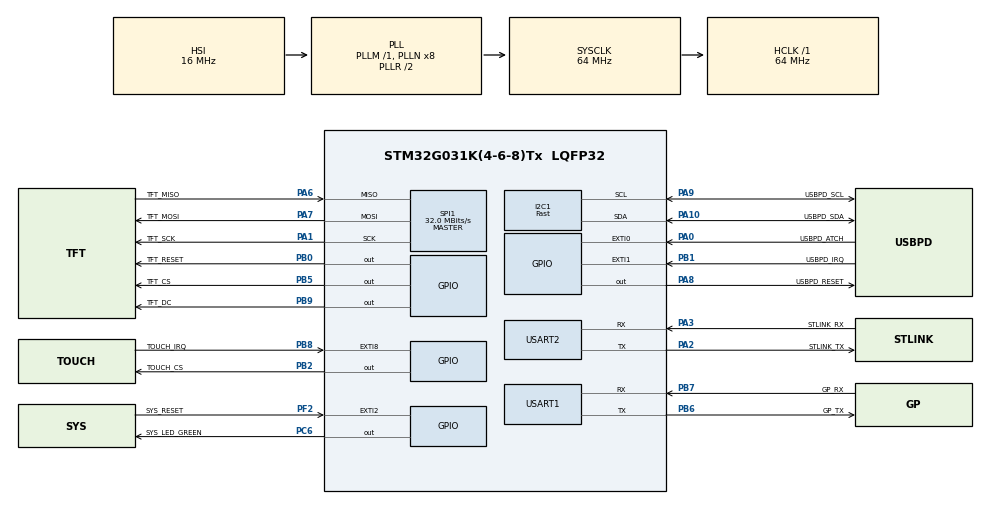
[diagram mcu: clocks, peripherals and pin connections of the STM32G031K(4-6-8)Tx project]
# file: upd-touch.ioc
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I2C1.I2C_Fall_Time=300
I2C1.I2C_Rise_Time=300
I2C1.I2C_Speed_Mode=I2C_Fast
I2C1.Timing=0x10C71026
Mcu.Family=STM32G0
Mcu.Name=STM32G031K(4-6-8)Tx
Mcu.Package=LQFP32
NVIC.EXTI0_1_IRQn=true\:1\:0\:true\:true\:true\:2\:true\:true
NVIC.EXTI2_3_IRQn=true\:0\:0\:false\:true\:true\:1\:true\:true
NVIC.EXTI4_15_IRQn=true\:1\:0\:true\:true\:true\:3\:true\:true
NVIC.I2C1_IRQn=true\:0\:0\:false\:false\:true\:true\:true
NVIC.SPI1_IRQn=true\:0\:0\:false\:false\:true\:true\:true
PA0.GPIO_Label=USBPD_ATCH
PA0.GPIO_ModeDefaultEXTI=GPIO_MODE_IT_FALLING
PA0.GPIO_PuPd=GPIO_NOPULL
PA0.Signal=GPXTI0
PA1.GPIO_Label=TFT_SCK
PA1.GPIO_Speed=GPIO_SPEED_FREQ_HIGH
PA1.Mode=Full_Duplex_Master
PA1.Signal=SPI1_SCK
PA10.GPIO_FMPA10=SYSCFG_FASTMODEPLUS_PA10
PA10.GPIO_Label=USBPD_SDA
PA10.GPIO_Speed=GPIO_SPEED_FREQ_HIGH
PA10.Mode=I2C
PA10.Signal=I2C1_SDA
PA13.GPIO_Label=SYS_SWDIO
PA13.Mode=Serial_Wire
PA13.Signal=SYS_SWDIO
PA14-BOOT0.GPIO_Label=SYS_SWCLK
PA14-BOOT0.Mode=Serial_Wire
PA14-BOOT0.Signal=SYS_SWCLK
PA2.GPIO_Label=STLINK_TX
PA2.Mode=Asynchronous
PA2.Signal=USART2_TX
PA3.GPIO_Label=STLINK_RX
PA3.Mode=Asynchronous
PA3.Signal=USART2_RX
PA6.GPIO_Label=TFT_MISO
PA6.GPIO_Speed=GPIO_SPEED_FREQ_LOW
PA6.Mode=Full_Duplex_Master
PA6.Signal=SPI1_MISO
PA7.GPIO_Label=TFT_MOSI
PA7.GPIO_Speed=GPIO_SPEED_FREQ_HIGH
PA7.Mode=Full_Duplex_Master
PA7.Signal=SPI1_MOSI
PA8.GPIO_Label=USBPD_RESET
PA8.Signal=GPIO_Output
PA9.GPIO_FMPA9=SYSCFG_FASTMODEPLUS_PA9
PA9.GPIO_Label=USBPD_SCL
PA9.GPIO_Speed=GPIO_SPEED_FREQ_HIGH
PA9.Mode=I2C
PA9.Signal=I2C1_SCL
PB0.GPIO_Label=TFT_RESET
PB0.GPIO_Speed=GPIO_SPEED_FREQ_LOW
PB0.Signal=GPIO_Output
PB1.GPIO_Label=USBPD_IRQ
PB1.GPIO_ModeDefaultEXTI=GPIO_MODE_IT_FALLING
PB1.GPIO_PuPd=GPIO_NOPULL
PB1.Signal=GPXTI1
PB2.GPIO_Label=TOUCH_CS
PB2.GPIO_PuPd=GPIO_PULLDOWN
PB2.GPIO_Speed=GPIO_SPEED_FREQ_VERY_HIGH
PB2.PinState=GPIO_PIN_SET
PB2.Signal=GPIO_Output
PB5.GPIO_Label=TFT_CS
PB5.GPIO_PuPd=GPIO_PULLDOWN
PB5.GPIO_Speed=GPIO_SPEED_FREQ_VERY_HIGH
PB5.PinState=GPIO_PIN_SET
PB5.Signal=GPIO_Output
PB6.GPIO_Label=GP_TX
PB6.Mode=Asynchronous
PB6.Signal=USART1_TX
PB7.GPIO_Label=GP_RX
PB7.Mode=Asynchronous
PB7.Signal=USART1_RX
PB8.GPIO_Label=TOUCH_IRQ
PB8.GPIO_ModeDefaultEXTI=GPIO_MODE_IT_RISING_FALLING
PB8.Signal=GPXTI8
PB9.GPIO_FM9=SYSCFG_FASTMODEPLUS_PB9
PB9.GPIO_Label=TFT_DC
PB9.GPIO_Speed=GPIO_SPEED_FREQ_HIGH
PB9.Signal=GPIO_Output
PC14-OSC32_IN\ (PC14).Mode=LSE-External-Oscillator
PC14-OSC32_IN\ (PC14).Signal=RCC_OSC32_IN
PC15-OSC32_OUT\ (PC15).Mode=LSE-External-Oscillator
PC15-OSC32_OUT\ (PC15).Signal=RCC_OSC32_OUT
PC6.GPIO_Label=SYS_LED_GREEN
PC6.Signal=GPIO_Output
PF2\ -\ NRST.GPIO_Label=SYS_RESET
PF2\ -\ NRST.Signal=GPXTI2
ProjectManager.HeapSize=0x200
ProjectManager.StackSize=0x400
ProjectManager.TargetToolchain=STM32CubeIDE
RCC.ADCFreq_Value=64000000
RCC.AHBFreq_Value=64000000
RCC.CortexFreq_Value=64000000
RCC.EXTERNAL_CLOCK_VALUE=12288000
RCC.HCLKFreq_Value=64000000
RCC.HSE_VALUE=8000000
RCC.HSI_VALUE=16000000
RCC.SYSCLKFreq_VALUE=64000000
RCC.SYSCLKSource=RCC_SYSCLKSOURCE_PLLCLK
RCC.VCOOutputFreq_Value=128000000
SPI1.BaudRatePrescaler=SPI_BAUDRATEPRESCALER_2
SPI1.CalculateBaudRate=32.0 MBits/s
SPI1.DataSize=SPI_DATASIZE_8BIT
SPI1.Direction=SPI_DIRECTION_2LINES
SPI1.Mode=SPI_MODE_MASTER
SPI1.VirtualType=VM_MASTER
USART1.VirtualMode-Asynchronous=VM_ASYNC
USART2.VirtualMode-Asynchronous=VM_ASYNC
board=NUCLEO-G031K8

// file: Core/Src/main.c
/* USER CODE BEGIN Header */
/**
  ******************************************************************************
  * @file           : main.c
  * @brief          : Main program body
  ******************************************************************************
  * @attention
  *
  * <h2><center>&copy; Copyright (c) 2019 STMicroelectronics.
  * All rights reserved.</center></h2>
  *
  * This software component is licensed by ST under BSD 3-Clause license,
  * the "License"; You may not use this file except in compliance with the
  * License. You may obtain a copy of the License at:
  *                        opensource.org/licenses/BSD-3-Clause
  *
  ******************************************************************************
  */
/* USER CODE END Header */

#include "main.h"
#include "i2c.h"
#include "spi.h"
#include "usart.h"
#include "gpio.h"

/* USER CODE BEGIN Includes */
#include "stusb4500_api.h"
#include "ili9341_api.h"

#include <stdio.h> // snprintf
/* USER CODE END Includes */

/* USER CODE BEGIN PV */
stusb4500_device_t *usbpd;
ili9341_device_t *screen;

/* USER CODE END PV */

void SystemClock_Config(void);
static void MX_NVIC_Init(void);

/* USER CODE BEGIN 0 */

void draw_pdo_src_all(ili9341_device_t *scr, stusb4500_device_t *usb)
{
#define Y_START 20

  if ((NULL != scr) && (NULL != usb)) {

    char pdo_str[32];
    float volts;
    float amps;
    uint16_t watts;

    for (uint8_t i = 0; i < usb->usbpd_status.pdo_src_count; ++i) {

      volts = (float)(usb->usbpd_status.pdo_src[i].fix.Voltage) / 20.0F;
      amps  = (float)(usb->usbpd_status.pdo_src[i].fix.Max_Operating_Current) / 100.0F;
      watts = (uint16_t)(volts * amps);

      snprintf(pdo_str, 32, "(%u) %4.1fV %4.1fV %2uW", i + 1, volts, amps, watts);

      ili9341_draw_string(scr, 2, Y_START + 20 * i, &ili9341_font_11x18, ILI9341_WHITE, ILI9341_BLACK, iwwTruncate, pdo_str);
    }
  }

#undef Y_START
}

void draw_pdo_snk_all(ili9341_device_t *scr, stusb4500_device_t *usb)
{
#define Y_START (scr->screen_size.height / 2U)

  if ((NULL != scr) && (NULL != usb)) {

    char pdo_str[32];
    float volts;
    float volts_lo, volts_hi; // variable supply
    float amps;
    uint16_t watts;

    for (uint8_t i = 0; i < usb->usbpd_status.pdo_snk_count; ++i) {

      switch (usb->usbpd_status.pdo_snk[i].fix.Fixed_Supply) {

        case ssfFixed:
          volts = (float)(usb->usbpd_status.pdo_snk[i].fix.Voltage) / 20.0F;
          amps  = (float)(usb->usbpd_status.pdo_snk[i].fix.Operational_Current) / 100.0F;
          watts = (uint16_t)(volts * amps);
          snprintf(pdo_str, 32, "(%c) %4.1fV %4.1fA %2uW", 'F', volts, amps, watts);
          break;

        case ssfVariable:
          volts_lo = (float)(usb->usbpd_status.pdo_snk[i].var.Min_Voltage) / 20.0F;
          volts_hi = (float)(usb->usbpd_status.pdo_snk[i].var.Max_Voltage) / 20.0F;
          amps     = (float)(usb->usbpd_status.pdo_snk[i].var.Operating_Current) / 100.0F;
          snprintf(pdo_str, 32, "(%c) %4.1fV-%4.1fV %2uA", 'V', volts_lo, volts_hi, (uint16_t)amps);
          break;

        case ssfBattery:
          volts_lo = (float)(usb->usbpd_status.pdo_snk[i].bat.Min_Voltage) / 20.0F;
          volts_hi = (float)(usb->usbpd_status.pdo_snk[i].bat.Max_Voltage) / 20.0F;
          watts    = (uint16_t)(usb->usbpd_status.pdo_snk[i].bat.Operating_Power) / 4.0F;
          snprintf(pdo_str, 32, "(%c) %4.1fV-%4.1fA %2uW", 'B', volts_lo, volts_hi, watts);
          break;

        default:
          break;
      }
      ili9341_draw_string(scr, 2, Y_START + 20 * i, &ili9341_font_11x18, ILI9341_WHITE, ILI9341_BLACK, iwwTruncate, pdo_str);
    }
  }

#undef Y_START
}

void screen_touch_begin(ili9341_device_t *dev)
{
  ; /* nothing */
}

void screen_touch_end(ili9341_device_t *dev)
{
  static uint32_t mode = 0;
  if (NULL != usbpd) {
    //stusb4500_get_source_capabilities(usbpd);

    stusb4500_status_t status;

    switch(mode % 5) {
      case 0:
        status = stusb4500_set_power(usbpd,  5000, 3000);
        break;
      case 1:
        status = stusb4500_set_power(usbpd,  9000, 3000);
        break;
      case 2:
        status = stusb4500_set_power(usbpd, 12000, 3000);
        break;
      case 3:
        status = stusb4500_set_power(usbpd, 15000, 3000);
        break;
      case 4:
        status = stusb4500_set_power(usbpd, 20000, 4500);
        break;
    }
    ++mode;

    if (HAL_OK == status)
      { draw_pdo_snk_all(dev, usbpd); }
  }
}

void source_capabilities_received(stusb4500_device_t *dev)
{
  draw_pdo_src_all(screen, dev);
}
/* USER CODE END 0 */

int main(void)
{

  /* MCU Configuration--------------------------------------------------------*/

  /* Reset of all peripherals, Initializes the Flash interface and the Systick. */
  HAL_Init();

  /* Configure the system clock */
  SystemClock_Config();

  /* Initialize all configured peripherals */
  MX_GPIO_Init();
  MX_USART2_UART_Init();
  MX_I2C1_Init();
  MX_USART1_UART_Init();
  MX_SPI1_Init();

  /* Initialize interrupts */
  MX_NVIC_Init();
  /* USER CODE BEGIN 2 */

  usbpd = stusb4500_device_new(
      &hi2c1,
      __STUSB4500_I2C_SLAVE_BASE_ADDR__,
      USBPD_RESET_GPIO_Port, USBPD_RESET_Pin);

  stusb4500_set_source_capabilities_received(usbpd, source_capabilities_received);

  stusb4500_device_init(usbpd);

  screen = ili9341_device_new(
      &hspi1,
      TFT_RESET_GPIO_Port, TFT_RESET_Pin,
      TFT_CS_GPIO_Port,    TFT_CS_Pin,
      TFT_DC_GPIO_Port,    TFT_DC_Pin,
      isoPortrait,
      TOUCH_CS_GPIO_Port,  TOUCH_CS_Pin,
      TOUCH_IRQ_GPIO_Port, TOUCH_IRQ_Pin,
      itsSupported,
      1500, 3276, 31000, 30110);

  ili9341_set_touch_pressed_begin(screen, screen_touch_begin);
  ili9341_set_touch_pressed_end(screen, screen_touch_end);

  /* USER CODE END 2 */

  /* Infinite loop */
  /* USER CODE BEGIN WHILE */
  while (1)
  {
    stusb4500_process_events(usbpd);
    /* USER CODE END WHILE */

  }
}

void SystemClock_Config(void)
{
  RCC_OscInitTypeDef RCC_OscInitStruct = {0};
  RCC_ClkInitTypeDef RCC_ClkInitStruct = {0};
  RCC_PeriphCLKInitTypeDef PeriphClkInit = {0};

  /** Configure the main internal regulator output voltage
  */
  HAL_PWREx_ControlVoltageScaling(PWR_REGULATOR_VOLTAGE_SCALE1);
  /** Initializes the CPU, AHB and APB busses clocks
  */
  RCC_OscInitStruct.OscillatorType = RCC_OSCILLATORTYPE_HSI;
  RCC_OscInitStruct.HSIState = RCC_HSI_ON;
  RCC_OscInitStruct.HSIDiv = RCC_HSI_DIV1;
  RCC_OscInitStruct.HSICalibrationValue = RCC_HSICALIBRATION_DEFAULT;
  RCC_OscInitStruct.PLL.PLLState = RCC_PLL_ON;
  RCC_OscInitStruct.PLL.PLLSource = RCC_PLLSOURCE_HSI;
  RCC_OscInitStruct.PLL.PLLM = RCC_PLLM_DIV1;
  RCC_OscInitStruct.PLL.PLLN = 8;
  RCC_OscInitStruct.PLL.PLLP = RCC_PLLP_DIV2;
  RCC_OscInitStruct.PLL.PLLQ = RCC_PLLQ_DIV2;
  RCC_OscInitStruct.PLL.PLLR = RCC_PLLR_DIV2;
  if (HAL_RCC_OscConfig(&RCC_OscInitStruct) != HAL_OK)
  {
    Error_Handler();
  }
  /** Initializes the CPU, AHB and APB busses clocks
  */
  RCC_ClkInitStruct.ClockType = RCC_CLOCKTYPE_HCLK|RCC_CLOCKTYPE_SYSCLK
                              |RCC_CLOCKTYPE_PCLK1;
  RCC_ClkInitStruct.SYSCLKSource = RCC_SYSCLKSOURCE_PLLCLK;
  RCC_ClkInitStruct.AHBCLKDivider = RCC_SYSCLK_DIV1;
  RCC_ClkInitStruct.APB1CLKDivider = RCC_HCLK_DIV1;

  if (HAL_RCC_ClockConfig(&RCC_ClkInitStruct, FLASH_LATENCY_2) != HAL_OK)
  {
    Error_Handler();
  }
  /** Initializes the peripherals clocks
  */
  PeriphClkInit.PeriphClockSelection = RCC_PERIPHCLK_USART1|RCC_PERIPHCLK_I2C1;
  PeriphClkInit.Usart1ClockSelection = RCC_USART1CLKSOURCE_PCLK1;
  PeriphClkInit.I2c1ClockSelection = RCC_I2C1CLKSOURCE_PCLK1;
  if (HAL_RCCEx_PeriphCLKConfig(&PeriphClkInit) != HAL_OK)
  {
    Error_Handler();
  }
}

/**
  * @brief NVIC Configuration.
  * @retval None
  */
static void MX_NVIC_Init(void)
{
  /* EXTI2_3_IRQn interrupt configuration */
  HAL_NVIC_SetPriority(EXTI2_3_IRQn, 0, 0);
  HAL_NVIC_EnableIRQ(EXTI2_3_IRQn);
  /* EXTI0_1_IRQn interrupt configuration */
  HAL_NVIC_SetPriority(EXTI0_1_IRQn, 1, 0);
  HAL_NVIC_EnableIRQ(EXTI0_1_IRQn);
  /* EXTI4_15_IRQn interrupt configuration */
  HAL_NVIC_SetPriority(EXTI4_15_IRQn, 1, 0);
  HAL_NVIC_EnableIRQ(EXTI4_15_IRQn);
}

void Error_Handler(void)
{
}

/************************ (C) COPYRIGHT STMicroelectronics *****END OF FILE****/
